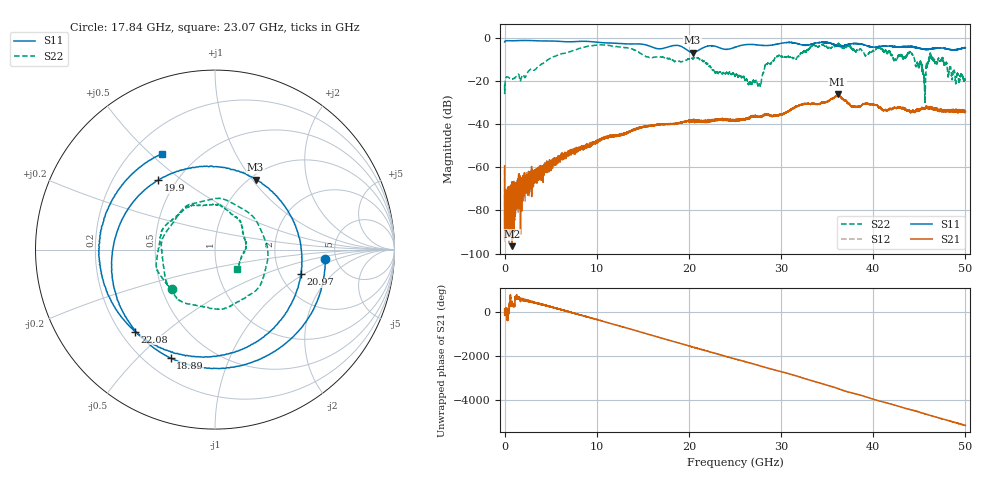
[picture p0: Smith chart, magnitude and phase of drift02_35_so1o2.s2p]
!Created with skrf (http://scikit-rf.org).
# Hz S RI R 50.0
!freq ReS11 ImS11 ReS21 ImS21 ReS12 ImS12 ReS22 ImS22
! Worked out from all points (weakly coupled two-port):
!   10001 points, 300 kHz to 50 GHz, reference 50 ohm
!   highest |S21| = -26.24 dB at 36.13 GHz (marker M1); lowest = -96.6 dB at 805.3 MHz (marker M2)
!   lowest |S11| = -6.9 dB at 20.4 GHz (marker M3), VSWR 2.64, Z = 53 + j52 ohm
!   |S11| at or under -10 dB: nowhere
!   |S22| runs from -30.7 to -2.6 dB; largest |S21 - S12| = 0.0055
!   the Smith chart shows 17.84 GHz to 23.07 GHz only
!   S11 on the Smith chart (normalised r, x): 17.84 GHz: 4.08, -0.73; 18.89 GHz: 0.30, -0.63; 19.9 GHz: 0.40, +0.41; 20.97 GHz: 2.58, -0.94; 22.08 GHz: 0.26, -0.40; 23.07 GHz: 0.32, +0.55
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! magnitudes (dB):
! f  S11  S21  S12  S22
! 300 kHz  -2.1  -59.4  -61.0  -21.8
! 255.3 MHz  -1.4  -78.5  -73.9  -18.2
! 805.3 MHz  -1.5  -96.6  -75.5  -19.1
! 8.335 GHz  -1.7  -51.1  -51.1  -4.8
! 16.67 GHz  -5.2  -40.3  -40.3  -9.0
! 17.84 GHz  -4.2  -39.9  -40.0  -9.7
! 18.89 GHz  -3.7  -39.7  -39.6  -10.9
! 19.9 GHz  -6.0  -38.6  -38.4  -9.9
! 20.4 GHz  -6.9  -38.3  -38.4  -9.7
! 20.97 GHz  -6.1  -38.8  -38.7  -9.4
! 22.08 GHz  -3.9  -39.1  -38.5  -12.5
! 23.07 GHz  -4.3  -38.0  -37.8  -15.8
! 25 GHz  -4.5  -38.1  -38.5  -17.6
! 27.63 GHz  -3.5  -36.8  -36.6  -21.6
! 29.54 GHz  -3.1  -35.8  -36.1  -8.8
! 33.34 GHz  -3.0  -30.8  -30.6  -3.8
! 36.13 GHz  -4.0  -26.2  -27.0  -3.2
! 41.67 GHz  -3.9  -33.3  -33.4  -6.2
! 44.13 GHz  -4.2  -34.4  -34.5  -7.1
! 45.5 GHz  -5.4  -32.9  -33.1  -18.0
! 46.27 GHz  -5.2  -32.5  -32.3  -9.0
! 50 GHz  -4.7  -34.2  -34.2  -19.3
